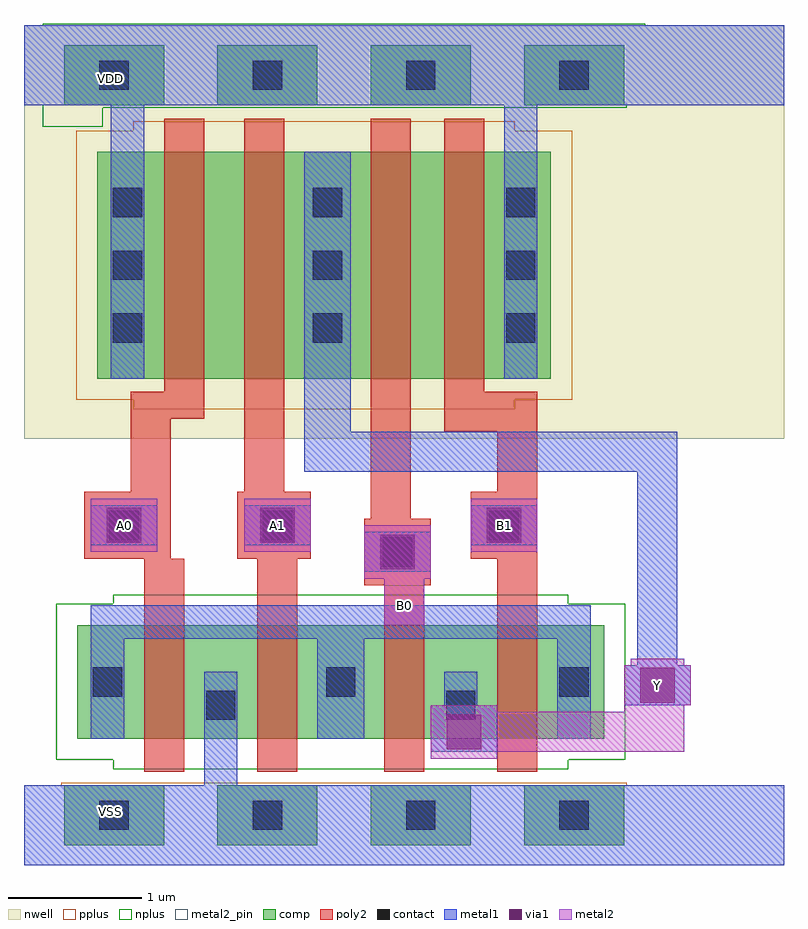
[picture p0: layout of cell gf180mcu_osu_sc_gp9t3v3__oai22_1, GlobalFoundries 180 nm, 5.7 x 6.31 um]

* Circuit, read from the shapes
.subckt gf180mcu_osu_sc_gp9t3v3__oai22_1 A0 A1 B0 B1 VDD VSS Y
XM1 VSS A0 n1 VSS nfet_03v3 w=0.85u l=0.3u
XM2 n1 A1 VSS VSS nfet_03v3 w=0.85u l=0.3u
XM3 Y B0 n1 VSS nfet_03v3 w=0.85u l=0.3u
XM4 n1 B1 Y VSS nfet_03v3 w=0.85u l=0.3u
XM5 n2 A0 VDD VDD pfet_03v3 w=1.7u l=0.3u
XM6 Y A1 n2 VDD pfet_03v3 w=1.7u l=0.3u
XM7 n3 B0 Y VDD pfet_03v3 w=1.7u l=0.3u
XM8 VDD B1 n3 VDD pfet_03v3 w=1.7u l=0.3u
.ends

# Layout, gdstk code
import gdstk
lib = gdstk.Library(unit=1e-6, precision=1e-09)
def R(c, l, rs):  # rectangles x0, y0, x1, y1
    for r in rs: c.add(gdstk.rectangle(r[:2], r[2:], *l))
def A(c, l, x, y, w, h, nx, ny, dx, dy):  # array of equal rectangles
    R(c, l, [(x+i*dx, y+j*dy, x+i*dx+w, y+j*dy+h) for i in range(nx) for j in range(ny)])
nwell = (21, 0)
comp = (22, 0)
poly2 = (30, 0)
pplus = (31, 0)
nplus = (32, 0)
contact = (33, 0)
metal1 = (34, 0)
via1 = (35, 0)
metal2 = (36, 0)
metal2_pin = (36, 10)

gf180mcu_osu_sc_gp9t3v3_ = lib.new_cell('gf180mcu_osu_sc_gp9t3v3__oai22_1')
R(gf180mcu_osu_sc_gp9t3v3_, nwell, [(0,3.2,5.7,6.3)])
A(gf180mcu_osu_sc_gp9t3v3_, comp, 0.3, 0.15, 0.75, 0.45, 4, 2, 1.15, 5.55)
R(gf180mcu_osu_sc_gp9t3v3_, comp, [(0.4,0.95,4.35,1.8), (0.55,3.65,3.95,5.35)])
R(gf180mcu_osu_sc_gp9t3v3_, poly2, [(0.9,0.7,1.2,2.3), (1.75,0.7,2.05,2.3), (2.7,0.7,3,2.1), (3.55,0.7,3.85,2.3), (2.55,2.1,3.05,2.6), (0.45,2.3,1.1,2.8), (1.6,2.3,2.15,2.8), (3.35,2.3,3.85,2.8), (2.6,2.6,2.9,5.6), (0.8,2.8,1.1,3.35), (1.65,2.8,1.95,5.6), (3.55,2.8,3.85,3.25), (3.15,3.25,3.85,3.55), (0.8,3.35,1.35,3.55), (1.05,3.55,1.35,5.6), (3.15,3.55,3.45,5.6)])
R(gf180mcu_osu_sc_gp9t3v3_, pplus, [(0,0,5.7,0.6), (0.28,0.13,4.52,0.62), (0.82,3.42,3.68,3.49), (0.39,3.49,4.11,5.51), (0.82,5.51,3.68,5.58)])
R(gf180mcu_osu_sc_gp9t3v3_, nplus, [(0.67,0.72,4.08,0.79), (0.24,0.79,4.51,1.96), (0.67,1.96,4.08,2.03), (0.14,5.54,0.59,5.68), (0.14,5.68,4.52,5.7), (0,5.7,5.7,6.3), (0,5.7,5.7,6.3), (0.14,6.3,4.66,6.31)])
A(gf180mcu_osu_sc_gp9t3v3_, contact, 0.565, 0.265, 0.22, 0.22, 4, 2, 1.15, 5.55)
A(gf180mcu_osu_sc_gp9t3v3_, contact, 0.515, 1.265, 0.22, 0.22, 3, 1, 1.75, 0)
A(gf180mcu_osu_sc_gp9t3v3_, contact, 0.665, 3.92, 0.22, 0.22, 1, 3, 0, 0.47)
A(gf180mcu_osu_sc_gp9t3v3_, contact, 2.165, 3.92, 0.22, 0.22, 1, 3, 0, 0.47)
A(gf180mcu_osu_sc_gp9t3v3_, contact, 3.615, 3.92, 0.22, 0.22, 1, 3, 0, 0.47)
R(gf180mcu_osu_sc_gp9t3v3_, contact, [(1.365,1.09,1.585,1.31), (3.165,1.09,3.385,1.31), (2.69,2.24,2.91,2.46), (0.64,2.44,0.86,2.66), (1.79,2.44,2.01,2.66), (3.49,2.44,3.71,2.66)])
R(gf180mcu_osu_sc_gp9t3v3_, metal1, [(0,0,5.7,0.6), (1.35,0.6,1.6,1.45), (3.05,0.85,3.55,1.2), (0.5,0.95,0.75,1.7), (2.2,0.95,2.55,1.7), (4,0.95,4.25,1.7), (3.15,1.2,3.4,1.45), (4.5,1.2,5,1.5), (4.6,1.5,4.9,2.95), (0.5,1.7,4.25,1.95), (2.55,2.2,3.05,2.5), (0.5,2.4,1,2.7), (1.65,2.4,2.15,2.7), (3.35,2.4,3.85,2.7), (2.1,2.95,4.9,3.25), (2.1,3.25,2.45,5.35), (0.65,3.65,0.9,5.7), (3.6,3.65,3.85,5.7), (0,5.7,5.7,6.3)])
R(gf180mcu_osu_sc_gp9t3v3_, via1, [(3.17,0.87,3.43,1.13), (4.62,1.22,4.88,1.48), (2.67,2.22,2.93,2.48), (0.62,2.42,0.88,2.68), (1.77,2.42,2.03,2.68), (3.47,2.42,3.73,2.68)])
R(gf180mcu_osu_sc_gp9t3v3_, metal2, [(3.05,0.8,3.55,0.85), (3.05,0.85,4.95,1.15), (3.05,1.15,3.55,1.2), (4.5,1.15,4.95,1.2), (4.5,1.2,5,1.5), (4.55,1.5,4.95,1.55), (2.7,1.8,3,2.15), (2.55,2.15,3.05,2.55), (0.5,2.35,1,2.75), (1.65,2.35,2.15,2.75), (3.35,2.35,3.85,2.75)])
R(gf180mcu_osu_sc_gp9t3v3_, metal2_pin, [(2.7,1.8,3,2.1)])
gf180mcu_osu_sc_gp9t3v3_.add(gdstk.Label('A0', (0.75,2.55), layer=36, texttype=10))
gf180mcu_osu_sc_gp9t3v3_.add(gdstk.Label('A1', (1.9,2.55), layer=36, texttype=10))
gf180mcu_osu_sc_gp9t3v3_.add(gdstk.Label('B0', (2.85,1.95), layer=36, texttype=10))
gf180mcu_osu_sc_gp9t3v3_.add(gdstk.Label('B1', (3.6,2.55), layer=36, texttype=10))
gf180mcu_osu_sc_gp9t3v3_.add(gdstk.Label('Y', (4.75,1.35), layer=36, texttype=10))
gf180mcu_osu_sc_gp9t3v3_.add(gdstk.Label('VDD', (0.65,5.9), layer=22, texttype=0))
gf180mcu_osu_sc_gp9t3v3_.add(gdstk.Label('VSS', (0.65,0.4), layer=22, texttype=0))

lib.write_gds('gf180mcu_osu_sc_gp9t3v3__oai22_1.gds')
